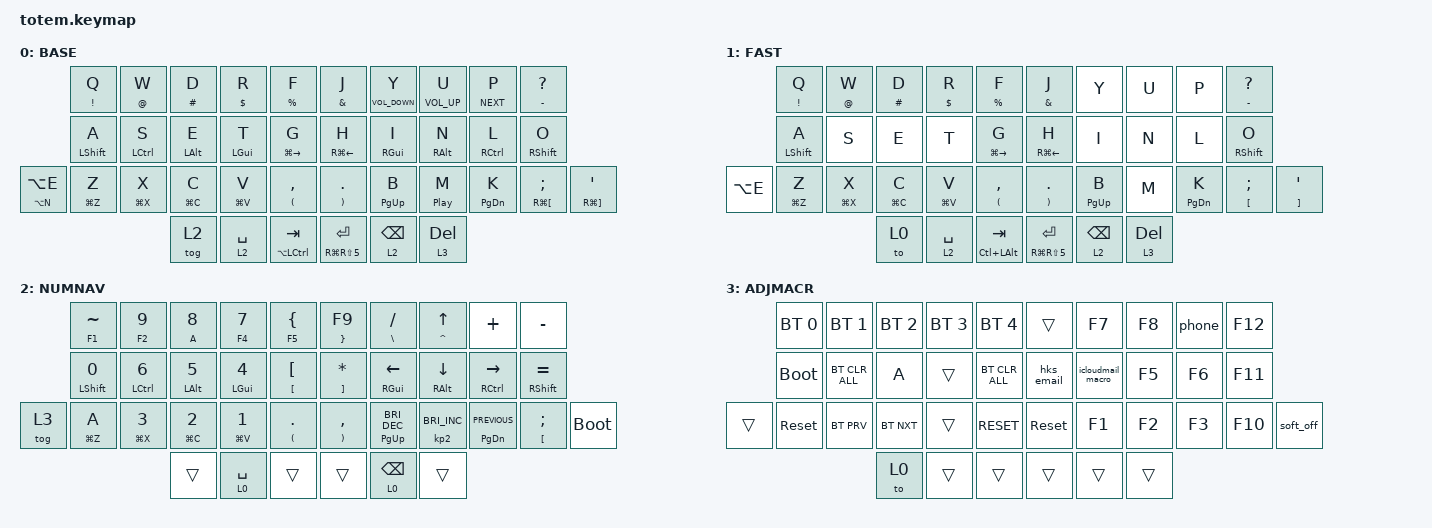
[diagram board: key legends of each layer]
//
//                                                        ▀▀▀▀▀     ▀▀▀▀▀          ▀▀█▀▀
//                                                        ▄▀▀▀▄  ▄  ▄▀▀▀▄  ▄  ▄▀▀▀▄  █  ▄▀▀▀▄
//                                                        █   █  █  █   █  █  █   █  █  █   █
//                                                         ▀▀▀   █   ▀▀▀   █   ▀▀▀   ▀   ▀▀▀
//                                                               █      ▄▄▄█▄▄▄    █   █  
//                                                               ▀      █  █  █     █▄█
//                                                             ▀▀▀▀▀    █  █  █      ▀
//                                                                      ▀  ▀  ▀
//
// ▄▄▄▄▄▄▄▄▄▄▄▄▄▄▄▄▄▄▄▄▄▄▄▄▄▄▄▄▄▄▄▄▄▄▄▄▄▄▄▄▄▄▄▄▄▄▄▄▄▄▄▄▄▄▄▄▄▄▄▄▄▄▄▄▄▄▄▄▄▄▄▄▄▄▄▄▄▄▄▄▄▄▄▄▄▄▄▄▄▄▄▄▄▄▄▄▄▄▄▄▄▄▄▄▄▄▄▄▄▄▄▄▄▄▄▄▄▄▄▄▄▄▄▄▄▄▄▄▄▄▄▄▄▄▄▄▄▄▄▄▄▄▄▄▄▄▄▄▄

#include <behaviors.dtsi>
#include <dt-bindings/zmk/bt.h>
#include <dt-bindings/zmk/keys.h>

#define BASE 0
#define NAV  1
#define SYM  2
#define ADJ  3
#define TVP1 4
#define TVP2 5

&mt {
    quick-tap-ms = <100>;
    global-quick-tap;
    flavor = "tap-preferred";
    tapping-term-ms = <170>;
};

/ {
    combos {
        compatible = "zmk,combos";

        combo_esc {
            timeout-ms = <50>;
            key-positions = <0 1>;
            bindings = <&kp ESC>;
        };

        tog_fast {
            timeout-ms = <100>;
            key-positions = <11 12 13>;
            bindings = <&tog 1>;
        };

        highlight_prev_word {
            bindings = <&shift_option_leftarrow>;
            key-positions = <16 19 17>;
        };

        highlight_prev_paragraph {
            bindings = <&shift_option_uparrow>;
            key-positions = <7 19 6>;
        };

        move_oneword_left {
            bindings = <&option_leftarrow>;
            key-positions = <16 17>;
        };

        move_beg_paragraph {
            bindings = <&option_uparrow>;
            key-positions = <6 7>;
        };

        bckspc_word {
            bindings = <&option_backspace>;
            key-positions = <16 36>;
        };

        move_end_paragraph {
            bindings = <&option_downarrow>;
            key-positions = <28 29>;
        };

        move_oneword_right {
            bindings = <&option_rightarrow>;
            key-positions = <18 17>;
        };

        del_word {
            bindings = <&option_del>;
            key-positions = <18 37>;
        };

        highlight_end_paragraph {
            bindings = <&shift_option_downarrow>;
            key-positions = <28 29 19>;
        };

        tog_4 {
            bindings = <&tog 0>;
            key-positions = <13 12 11 10>;
        };

        enie {
            bindings = <&enie>;
            key-positions = <30 29>;
        };

        tab_left {
            bindings = <&cmd_shft_left>;
            key-positions = <33 11 12>;
        };

        tab_right {
            bindings = <&cmd_shft_right>;
            key-positions = <33 13 12>;
        };
    };

    macros {
        gif: gif {
            label = "giphy";
            compatible = "zmk,behavior-macro";
            #binding-cells = <0>;
            bindings =
                <&macro_press>,
                <&kp LSHFT>,
                <&macro_tap>,
                <&kp N2>,
                <&macro_release>,
                <&kp LSHFT>,
                <&macro_tap>,
                <&kp G &kp I &kp F>;
        };

        shift_option_leftarrow: ss {
            compatible = "zmk,behavior-macro";
            #binding-cells = <0>;
            bindings =
                <&macro_press>,
                <&kp LEFT_SHIFT &kp LEFT_ALT>,
                <&macro_tap>,
                <&kp LEFT_ARROW>,
                <&macro_release>,
                <&kp LEFT_SHIFT &kp LEFT_ALT>;

            label = "SS";
        };

        icloudmail_macro: icloudmail_macro {
            compatible = "zmk,behavior-macro";
            #binding-cells = <0>;
            bindings = <&kp R &kp U &kp B &kp DOT &kp A &kp N &kp Z &kp S &kp A &kp AT &kp I &kp C &kp L &kp O &kp U &kp D &kp DOT &kp C &kp O &kp M>;
            label = "ICLOUDMAIL_MACRO";
        };

        shift_option_uparrow: shift_option_uparrow {
            compatible = "zmk,behavior-macro";
            #binding-cells = <0>;
            bindings =
                <&macro_press>,
                <&kp LEFT_SHIFT &kp LEFT_ALT>,
                <&macro_tap>,
                <&kp UP_ARROW>,
                <&macro_release>,
                <&kp LEFT_SHIFT &kp LEFT_ALT>;

            label = "SHIFT_OPTION_UPARROW";
        };

        screenshot: screenshot {
            compatible = "zmk,behavior-macro";
            #binding-cells = <0>;
            bindings =
                <&macro_press>,
                <&kp LEFT_GUI &kp LEFT_SHIFT>,
                <&macro_tap>,
                <&kp NUMBER_5>,
                <&macro_release>,
                <&kp LEFT_GUI &kp LEFT_SHIFT>;

            label = "SCREENSHOT";
        };

        option_leftarrow: option_leftarrow {
            compatible = "zmk,behavior-macro";
            #binding-cells = <0>;
            bindings =
                <&macro_press>,
                <&kp LEFT_ALT>,
                <&macro_tap>,
                <&kp LEFT_ARROW>,
                <&macro_release>,
                <&kp LEFT_ALT>;

            label = "OPTION_LEFTARROW";
        };

        option_uparrow: option_uparrow {
            compatible = "zmk,behavior-macro";
            #binding-cells = <0>;
            bindings =
                <&macro_press>,
                <&kp LEFT_ALT>,
                <&macro_tap>,
                <&kp UP_ARROW>,
                <&macro_release>,
                <&kp LEFT_ALT>;

            label = "OPTION_UPARROW";
        };

        option_backspace: bckspc_word {
            compatible = "zmk,behavior-macro";
            #binding-cells = <0>;
            bindings =
                <&macro_press>,
                <&kp LEFT_ALT>,
                <&macro_tap>,
                <&kp BACKSPACE>,
                <&macro_release>,
                <&kp LEFT_ALT>;

            label = "BCKSPC_WORD";
        };

        option_downarrow: option_downarrow {
            compatible = "zmk,behavior-macro";
            #binding-cells = <0>;
            bindings =
                <&macro_press>,
                <&kp LEFT_ALT>,
                <&macro_tap>,
                <&kp DOWN_ARROW>,
                <&macro_release>,
                <&kp LEFT_ALT>;

            label = "OPTION_DOWNARROW";
        };

        option_rightarrow: option_rightarrow {
            compatible = "zmk,behavior-macro";
            #binding-cells = <0>;
            bindings =
                <&macro_press>,
                <&kp LEFT_ALT>,
                <&macro_tap>,
                <&kp RIGHT_ARROW>,
                <&macro_release>,
                <&kp LEFT_ALT>;

            label = "OPTION_RIGHTARROW";
        };

        option_del: option_delete {
            compatible = "zmk,behavior-macro";
            #binding-cells = <0>;
            bindings =
                <&macro_press>,
                <&kp LEFT_ALT>,
                <&macro_tap>,
                <&kp DEL>,
                <&macro_release>,
                <&kp LEFT_ALT>;

            label = "OPTION_DELETE";
        };

        shift_option_downarrow: shift_option_downarrow_bckspc {
            compatible = "zmk,behavior-macro";
            #binding-cells = <0>;
            bindings =
                <&macro_press>,
                <&kp LEFT_SHIFT &kp LEFT_ALT>,
                <&macro_tap>,
                <&kp DOWN_ARROW>,
                <&macro_release>,
                <&kp LEFT_ALT &kp LEFT_SHIFT>;

            label = "SHIFT_OPTION_DOWNARROW_BCKSPC";
        };

        phone: phone {
            compatible = "zmk,behavior-macro";
            #binding-cells = <0>;
            bindings = <&kp NUMBER_6 &kp NUMBER_1 &kp N7 &kp N8 &kp NUMBER_1 &kp N7 &kp N8 &kp NUMBER_4 &kp N5 &kp NUMBER_3>;
            label = "PHONE";
        };

        hks_email: hks_email {
            compatible = "zmk,behavior-macro";
            #binding-cells = <0>;
            bindings = <&kp R &kp U &kp B &kp E &kp N &kp UNDERSCORE &kp A &kp N &kp Z &kp U &kp R &kp E &kp S &kp AT_SIGN &kp H &kp K &kp S &kp PERIOD &kp H &kp A &kp R &kp V &kp A &kp R &kp D &kp PERIOD &kp E &kp D &kp U>;
            label = "HKS_EMAIL";
        };

        enie: enie {
            compatible = "zmk,behavior-macro";
            #binding-cells = <0>;
            bindings =
                <&macro_tap>,
                <&kp LC(SPACE)>,
                <&macro_tap>,
                <&kp SEMICOLON>,
                <&macro_press>,
                <&kp LC(SPACE)>;

            label = "ENIE";
        };

        cmd_shft_left: cmd_shft_left {
            compatible = "zmk,behavior-macro";
            #binding-cells = <0>;
            bindings =
                <&macro_press>,
                <&kp LEFT_COMMAND &kp LEFT_SHIFT>,
                <&macro_tap>,
                <&kp LEFT_ARROW>,
                <&macro_release>,
                <&kp LEFT_COMMAND &kp LEFT_SHIFT>;

            label = "CMD_SHFT_LEFT";
        };

        cmd_shft_right: cmd_shft_right {
            compatible = "zmk,behavior-macro";
            #binding-cells = <0>;
            bindings =
                <&macro_press>,
                <&kp LEFT_COMMAND &kp LEFT_SHIFT>,
                <&macro_tap>,
                <&kp RIGHT_ARROW>,
                <&macro_release>,
                <&kp LEFT_COMMAND &kp LEFT_SHIFT>;

            label = "CMD_SHFT_RIGHT";
        };
    };

    keymap {
        compatible = "zmk,keymap";

        // ▄▄▄▄▄▄▄▄▄▄▄▄▄▄▄▄▄▄▄▄▄▄▄▄▄▄▄▄▄▄▄▄▄▄▄▄▄▄▄▄▄▄▄▄▄▄▄▄▄▄▄▄▄▄▄▄▄▄▄▄▄▄▄▄▄▄▄▄▄▄▄▄▄▄▄▄▄▄▄▄▄▄▄▄▄▄▄▄▄▄▄▄▄▄▄▄▄▄▄▄▄▄▄▄▄▄▄▄▄▄▄▄▄▄▄▄▄▄▄▄▄▄▄▄▄▄▄▄▄▄▄▄▄▄▄▄▄▄▄▄▄▄▄▄▄▄▄▄▄

        base {
            // ┏━━━━━━━━━━━━━━━━━━━━━━━━━━━━━━━━━━━━━━━┓

            label = "BASE";

            // ┗━━━━━━━━━━━━━━━━━━━━━━━━━━━━━━━━━━━━━━━┛
            //             ┏━━━━━━━━━━━┳━━━━━━━━━━━┳━━━━━━━━━━━┳━━━━━━━━━━━┳━━━━━━━━━━━┓   ┏━━━━━━━━━━━┳━━━━━━━━━━━┳━━━━━━━━━━━┳━━━━━━━━━━━┳━━━━━━━━━━━┓
            //             ┃     Q     ┃     W     ┃     F     ┃     P     ┃     G     ┃   ┃     J     ┃     L     ┃     U     ┃     Y     ┃     ;     ┃
            //             ┣━━━━━━━━━━━╋━━━━━━━━━━━╋━━━━━━━━━━━╋━━━━━━━━━━━╋━━━━━━━━━━━┫   ┣━━━━━━━━━━━╋━━━━━━━━━━━╋━━━━━━━━━━━╋━━━━━━━━━━━╋━━━━━━━━━━━┫
            //             ┃     A     ┃     R     ┃     S     ┃     T     ┃     D     ┃   ┃     H     ┃     N     ┃     E     ┃     I     ┃     O     ┃
            // ┏━━━━━━━━━━━╋━━━━━━━━━━━╋━━━━━━━━━━━╋━━━━━━━━━━━╋━━━━━━━━━━━╋━━━━━━━━━━━┫   ┣━━━━━━━━━━━╋━━━━━━━━━━━╋━━━━━━━━━━━╋━━━━━━━━━━━╋━━━━━━━━━━━╋━━━━━━━━━━━┓
            // ┃     Q     ┃     Z     ┃     X     ┃     C     ┃     V     ┃     B     ┃   ┃     K     ┃     M     ┃     ,     ┃     .     ┃     /     ┃     \     ┃
            // ┗━━━━━━━━━━━┻━━━━━━━━━━━┻━━━━━━━━━━━╋━━━━━━━━━━━╋━━━━━━━━━━━╋━━━━━━━━━━━┫   ┣━━━━━━━━━━━╋━━━━━━━━━━━╋━━━━━━━━━━━╋━━━━━━━━━━━┻━━━━━━━━━━━┻━━━━━━━━━━━┛
            //                                     ┃    DEL    ┃    TAB    ┃    SPC    ┃   ┃   ENTER   ┃           ┃   BSPC    ┃
            //                                     ┗━━━━━━━━━━━┻━━━━━━━━━━━┻━━━━━━━━━━━┛   ┗━━━━━━━━━━━┻━━━━━━━━━━━┻━━━━━━━━━━━┛

            bindings = <
                 &mt EXCLAMATION Q  &mt AT_SIGN W       &mt HASH D      &mt DOLLAR R    &mt PERCENT F                 &mt AMPERSAND J               &mt C_VOLUME_DOWN Y  &mt C_VOLUME_UP U   &mt C_NEXT P         &mt MINUS QUESTION
                 &mt LEFT_SHIFT A   &mt LEFT_CONTROL S  &mt LEFT_ALT E  &mt LEFT_GUI T  &mt LG(RIGHT_ARROW) G         &mt RG(LEFT_ARROW) H          &mt RIGHT_GUI I      &mt RIGHT_ALT N     &mt RIGHT_CONTROL L  &mt RIGHT_SHIFT O
&mt LA(N) LA(E)  &mt LG(Z) Z        &mt LG(X) X         &mt LG(C) C     &mt LG(V) V     &mt LEFT_PARENTHESIS COMMA    &mt RIGHT_PARENTHESIS PERIOD  &mt PAGE_UP B        &mt C_PLAY_PAUSE M  &mt PAGE_DOWN K      &mt RG(LEFT_BRACKET) SEMICOLON  &mt RG(RIGHT_BRACKET) APOS
                                                        &tog 2          &lt 2 SPACE     &mt LA(LEFT_CONTROL) TAB      &mt RG(RS(NUMBER_5)) RET      &lt 2 BACKSPACE      &lt 3 DELETE
            >;
        };

        safe_fasttyping {
            label = "FAST";
            bindings = <
           &mt EXCLAMATION Q  &mt AT_SIGN W  &mt HASH D   &mt DOLLAR R  &mt PERCENT F                 &mt AMPERSAND J               &kp Y            &kp U         &kp P            &mt MINUS QUESTION
           &mt LEFT_SHIFT A   &kp S          &kp E        &kp T         &mt LG(RIGHT_ARROW) G         &mt RG(LEFT_ARROW) H          &kp I            &kp N         &kp L            &mt RIGHT_SHIFT O
&kp LA(E)  &mt LG(Z) Z        &mt LG(X) X    &mt LG(C) C  &mt LG(V) V   &mt LEFT_PARENTHESIS COMMA    &mt RIGHT_PARENTHESIS PERIOD  &mt PAGE_UP B    &kp M         &mt PAGE_DOWN K  &mt LEFT_BRACKET SEMICOLON  &mt RIGHT_BRACKET APOSTROPHE
                                             &to 0        &lt 2 SPACE   &mt LC(LEFT_ALT) TAB          &mt RG(RS(NUMBER_5)) RET      &lt 2 BACKSPACE  &lt 3 DELETE
            >;
        };

        num_nav {
            // ┏━━━━━━━━━━━━━━━━━━━━━━━━━━━━━━━━━━━━━━━┓

            label = "NUMNAV";

            // ┗━━━━━━━━━━━━━━━━━━━━━━━━━━━━━━━━━━━━━━━┛
            //             ┏━━━━━━━━━━━┳━━━━━━━━━━━┳━━━━━━━━━━━┳━━━━━━━━━━━┳━━━━━━━━━━━┓   ┏━━━━━━━━━━━┳━━━━━━━━━━━┳━━━━━━━━━━━┳━━━━━━━━━━━┳━━━━━━━━━━━┓
            //             ┃           ┃           ┃     UP    ┃           ┃     {     ┃   ┃     }     ┃     7     ┃     8     ┃     9     ┃     +     ┃
            //             ┣━━━━━━━━━━━╋━━━━━━━━━━━╋━━━━━━━━━━━╋━━━━━━━━━━━╋━━━━━━━━━━━┫   ┣━━━━━━━━━━━╋━━━━━━━━━━━╋━━━━━━━━━━━╋━━━━━━━━━━━╋━━━━━━━━━━━┫
            //             ┃   SHIFT   ┃   LEFT    ┃    DOWN   ┃   RIGHT   ┃     [     ┃   ┃     ]     ┃     4     ┃     5     ┃     6     ┃     -     ┃
            // ┏━━━━━━━━━━━╋━━━━━━━━━━━╋━━━━━━━━━━━╋━━━━━━━━━━━╋━━━━━━━━━━━╋━━━━━━━━━━━┫   ┣━━━━━━━━━━━╋━━━━━━━━━━━╋━━━━━━━━━━━╋━━━━━━━━━━━╋━━━━━━━━━━━╋━━━━━━━━━━━┓
            // ┃           ┃           ┃   P UP    ┃  C LOCK   ┃  P DOWN   ┃     (     ┃   ┃     )     ┃     1     ┃     2     ┃     3     ┃     *     ┃           ┃
            // ┗━━━━━━━━━━━┻━━━━━━━━━━━┻━━━━━━━━━━━╋━━━━━━━━━━━╋━━━━━━━━━━━╋━━━━━━━━━━━┫   ┣━━━━━━━━━━━╋━━━━━━━━━━━╋━━━━━━━━━━━╋━━━━━━━━━━━┻━━━━━━━━━━━┻━━━━━━━━━━━┛
            //                                     ┃           ┃    TAB    ┃    SPC    ┃   ┃    DEL    ┃     0     ┃           ┃
            //                                     ┗━━━━━━━━━━━┻━━━━━━━━━━━┻━━━━━━━━━━━┛   ┗━━━━━━━━━━━┻━━━━━━━━━━━┻━━━━━━━━━━━┛

            bindings = <
        &mt F1 TILDE        &mt F2 NUMBER_9     &mt A NUMBER_8         &mt F4 N7              &mt F5 LEFT_BRACE                &mt RBRC F9                 &mt BACKSLASH SLASH           &mt CARET UP_ARROW          &kp PLUS                       &kp MINUS
        &mt LSHFT NUMBER_0  &mt LCTRL NUMBER_6  &mt LEFT_ALT NUMBER_5  &mt LEFT_GUI NUMBER_4  &mt LEFT_BRACKET LEFT_BRACKET    &mt RIGHT_BRACKET ASTERISK  &mt RIGHT_GUI LEFT_ARROW      &mt RIGHT_ALT DOWN_ARROW    &mt RIGHT_CONTROL RIGHT_ARROW  &mt RIGHT_SHIFT EQUAL
&tog 3  &mt LG(Z) A         &mt LG(X) NUMBER_3  &mt LG(C) NUMBER_2     &mt LG(V) NUMBER_1     &mt LPAR PERIOD                  &mt RPAR COMMA              &mt PAGE_UP C_BRIGHTNESS_DEC  &mt KP_N2 C_BRIGHTNESS_INC  &mt PAGE_DOWN C_PREVIOUS       &mt LEFT_BRACKET SEMICOLON  &bootloader
                                                &trans                 &lt 0 SPACE            &trans                           &trans                      &lt 0 BACKSPACE               &trans
            >;
        };

        adjust_and_macros {
            // ┏━━━━━━━━━━━━━━━━━━━━━━━━━━━━━━━━━━━━━━━┓

            label = "ADJMACR";

            // ┗━━━━━━━━━━━━━━━━━━━━━━━━━━━━━━━━━━━━━━━┛
            //             ┏━━━━━━━━━━━┳━━━━━━━━━━━┳━━━━━━━━━━━┳━━━━━━━━━━━┳━━━━━━━━━━━┓   ┏━━━━━━━━━━━┳━━━━━━━━━━━┳━━━━━━━━━━━┳━━━━━━━━━━━┳━━━━━━━━━━━┓
            //             ┃   RESET   ┃ BT CLEAR  ┃  OUT TOG  ┃           ┃           ┃   ┃           ┃    F7     ┃    F8     ┃    F9     ┃    F12    ┃
            //             ┣━━━━━━━━━━━╋━━━━━━━━━━━╋━━━━━━━━━━━╋━━━━━━━━━━━╋━━━━━━━━━━━┫   ┣━━━━━━━━━━━╋━━━━━━━━━━━╋━━━━━━━━━━━╋━━━━━━━━━━━╋━━━━━━━━━━━┫
            //             ┃ BOOTLOAD  ┃ BT NEXT   ┃           ┃           ┃           ┃   ┃           ┃    F4     ┃    F5     ┃    F6     ┃    F11    ┃
            // ┏━━━━━━━━━━━╋━━━━━━━━━━━╋━━━━━━━━━━━╋━━━━━━━━━━━╋━━━━━━━━━━━╋━━━━━━━━━━━┫   ┣━━━━━━━━━━━╋━━━━━━━━━━━╋━━━━━━━━━━━╋━━━━━━━━━━━╋━━━━━━━━━━━╋━━━━━━━━━━━┓
            // ┃           ┃           ┃ BT PREV   ┃           ┃           ┃           ┃   ┃           ┃    F1     ┃    F2     ┃    F3     ┃    F10    ┃           ┃
            // ┗━━━━━━━━━━━┻━━━━━━━━━━━┻━━━━━━━━━━━╋━━━━━━━━━━━╋━━━━━━━━━━━╋━━━━━━━━━━━┫   ┣━━━━━━━━━━━╋━━━━━━━━━━━╋━━━━━━━━━━━╋━━━━━━━━━━━┻━━━━━━━━━━━┻━━━━━━━━━━━┛
            //                                     ┃           ┃           ┃           ┃   ┃           ┃           ┃           ┃
            //                                     ┗━━━━━━━━━━━┻━━━━━━━━━━━┻━━━━━━━━━━━┛   ┗━━━━━━━━━━━┻━━━━━━━━━━━┻━━━━━━━━━━━┛

            bindings = <
        &bt BT_SEL 0  &bt BT_SEL 1    &bt BT_SEL 2  &bt BT_SEL 3  &bt BT_SEL 4      &trans      &kp F7             &kp F8  &phone  &kp F12
        &bootloader   &bt BT_CLR_ALL  &kp A         &trans        &bt BT_CLR_ALL    &hks_email  &icloudmail_macro  &kp F5  &kp F6  &kp F11
&trans  &sys_reset    &bt BT_PRV      &bt BT_NXT    &trans        &kp C_RESET       &sys_reset  &kp F1             &kp F2  &kp F3  &kp F10  &soft_off
                                      &to 0         &trans        &trans            &trans      &trans             &trans
            >;
        };
    };
};
